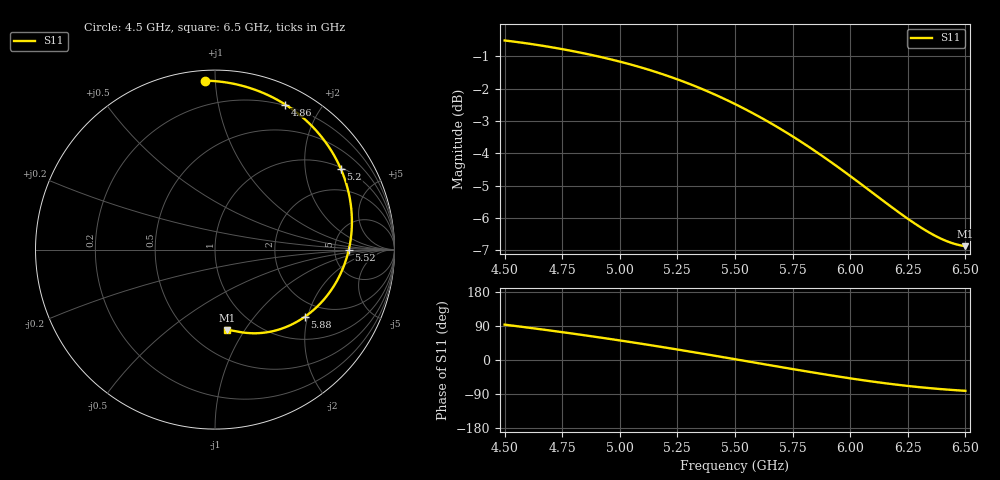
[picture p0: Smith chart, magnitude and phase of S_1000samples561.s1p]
! TOUCHSTONE file generated by CST MICROWAVE STUDIO
! Date and time: Fri Oct 28 14:43:22 2022
! Project name: L.cst
! Parameters = {Di=1.27; Epsilon_r=1.56; InnerDiameter=1.27; Length=2; Lf=10; Lg=60; OuterConductorThickness=0.2921; OuterDiameter=3.6; Wf=3; Wp=41.2; de=1.5; df=6.8; g=0.8; gx=1.00033; gy=4.75952; h=2.34; hf=1.524; px=9.92457; py=8.69234; w=9.7; wx=8.92424; wy=3.93282}
! Header version: 2018
! Port assignment regex: !\s*Touchstone port\s*([0-9]+)\s*=\s*(CST MWS port|CST DS port)\s*([0-9]+|Zmin|Zmax)\s*\(\"(.*)\"\)(\s*mode\s*([0-9]+))?.*
! Touchstone port assignment:
! Touchstone port 1 = CST MWS port 1 ("")
# GHz S DB R 50
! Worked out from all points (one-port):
!   101 points, 4.5 GHz to 6.5 GHz, reference 50 ohm
!   lowest |S11| = -6.9 dB at 6.5 GHz (marker M1), VSWR 2.66, Z = 37.2 - j41.9 ohm
!   |S11| at or under -10 dB: nowhere
!   S11 on the Smith chart (normalised r, x): 4.5 GHz: 0.06, +0.94; 4.86 GHz: 0.19, +1.58; 5.2 GHz: 1.06, +3.09; 5.52 GHz: 6.86, +0.01; 5.88 GHz: 1.56, -1.91; 6.5 GHz: 0.74, -0.84
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4.5  -0.51 93.3
4.58  -0.59 87.2
4.64  -0.65 82.4
4.7  -0.72 77.6
4.76  -0.79 72.6
4.86  -0.93 64.1
4.92  -1.03 58.8
5  -1.17 51.6
5.1  -1.36 42.3
5.2  -1.59 32.6
5.26  -1.74 26.7
5.32  -1.91 20.6
5.38  -2.08 14.5
5.44  -2.27 8.3
5.5  -2.48 2.1
5.52  -2.55 0.0
5.58  -2.77 -6.2
5.64  -3.01 -12.5
5.7  -3.26 -18.7
5.76  -3.52 -24.9
5.82  -3.80 -31.0
5.88  -4.09 -37.0
5.94  -4.39 -42.8
6  -4.70 -48.4
6.12  -5.35 -58.8
6.26  -6.08 -69.1
6.38  -6.59 -76.1
6.5  -6.87 -81.4
